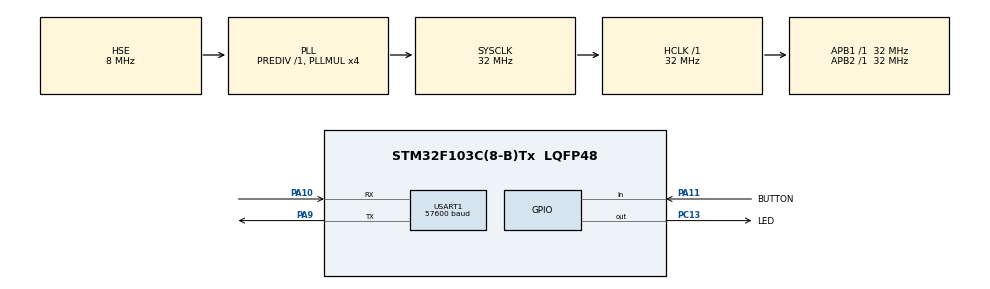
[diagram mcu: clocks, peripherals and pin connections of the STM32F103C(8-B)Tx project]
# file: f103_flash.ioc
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Dma.Request0=USART1_TX
Dma.USART1_TX.0.Direction=DMA_MEMORY_TO_PERIPH
Dma.USART1_TX.0.Instance=DMA1_Channel4
Dma.USART1_TX.0.MemDataAlignment=DMA_MDATAALIGN_BYTE
Dma.USART1_TX.0.MemInc=DMA_MINC_ENABLE
Dma.USART1_TX.0.Mode=DMA_NORMAL
Dma.USART1_TX.0.PeriphDataAlignment=DMA_PDATAALIGN_BYTE
Dma.USART1_TX.0.PeriphInc=DMA_PINC_DISABLE
Dma.USART1_TX.0.Priority=DMA_PRIORITY_LOW
Mcu.Family=STM32F1
Mcu.Name=STM32F103C(8-B)Tx
Mcu.Package=LQFP48
NVIC.DMA1_Channel4_IRQn=true\:0\:0\:false\:false\:true\:false\:true
NVIC.PriorityGroup=NVIC_PRIORITYGROUP_4
NVIC.USART1_IRQn=true\:0\:0\:false\:false\:true\:true\:true
PA10.Mode=Asynchronous
PA10.Signal=USART1_RX
PA11.GPIO_Label=BUTTON
PA11.Signal=GPIO_Input
PA13.Mode=Serial_Wire
PA13.Signal=SYS_JTMS-SWDIO
PA14.Mode=Serial_Wire
PA14.Signal=SYS_JTCK-SWCLK
PA9.Mode=Asynchronous
PA9.Signal=USART1_TX
PC13-TAMPER-RTC.GPIO_Label=LED
PC13-TAMPER-RTC.Signal=GPIO_Output
PD0-OSC_IN.Mode=HSE-External-Oscillator
PD0-OSC_IN.Signal=RCC_OSC_IN
PD1-OSC_OUT.Mode=HSE-External-Oscillator
PD1-OSC_OUT.Signal=RCC_OSC_OUT
ProjectManager.HeapSize=0x200
ProjectManager.StackSize=0x400
ProjectManager.TargetToolchain=STM32CubeIDE
RCC.AHBFreq_Value=32000000
RCC.APB1Freq_Value=32000000
RCC.APB1TimFreq_Value=32000000
RCC.APB2Freq_Value=32000000
RCC.APB2TimFreq_Value=32000000
RCC.HCLKFreq_Value=32000000
RCC.PLLMUL=RCC_PLL_MUL4
RCC.PLLSourceVirtual=RCC_PLLSOURCE_HSE
RCC.SYSCLKFreq_VALUE=32000000
RCC.SYSCLKSource=RCC_SYSCLKSOURCE_PLLCLK
RCC.USBFreq_Value=32000000
USART1.BaudRate=57600
USART1.VirtualMode=VM_ASYNC
board=custom

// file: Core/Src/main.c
/* USER CODE BEGIN Header */
/**
  ******************************************************************************
  * @file           : main.c
  * @brief          : Main program body
  ******************************************************************************
  * @attention
  *
  * <h2><center>&copy; Copyright (c) 2021 STMicroelectronics.
  * All rights reserved.</center></h2>
  *
  * This software component is licensed by ST under BSD 3-Clause license,
  * the "License"; You may not use this file except in compliance with the
  * License. You may obtain a copy of the License at:
  *                        opensource.org/licenses/BSD-3-Clause
  *
  ******************************************************************************
  */
/* USER CODE END Header */
#include "main.h"

/* USER CODE BEGIN Includes */
#include "stdio.h"
#include "string.h"
/* USER CODE END Includes */

/* USER CODE BEGIN PD */
#define msg_SIZE 30

/* USER CODE END PD */

UART_HandleTypeDef huart1;
DMA_HandleTypeDef hdma_usart1_tx;

/* USER CODE BEGIN PV */
static char UART_msg_TX [msg_SIZE]; // массив для формирования сообщений для вывода по UART
static char UART_buf_RX [msg_SIZE]; // массив для полученных сообщений по UART
const char message1 [] = "yes\r\n";
const char message2 [] = "error_command\r\n";
uint8_t count = 0; //номер элемента массива
char symbol = 0;
union data {             //объявим структуру
	uint16_t name;
	uint8_t day;
	uint8_t month;
	uint16_t year;
	} kordinata;
/* USER CODE END PV */

void SystemClock_Config(void);
static void MX_GPIO_Init(void);
static void MX_DMA_Init(void);
static void MX_USART1_UART_Init(void);

/* USER CODE BEGIN 0 */

/*-------------------------функция записывающая данные во флэш микроконтроллера--------------------------------*/
void write_flash ()
{
	HAL_FLASH_Unlock(); // разблокировать флеш
	uint32_t address = FLASH_START_ADDR; // адрес страницы для записи
	kordinata.name = 0xCAFE;
	if(HAL_FLASH_Program(FLASH_TYPEPROGRAM_HALFWORD, address, kordinata.name) != HAL_OK) //запись и обработчик ошибки
	{
	    uint32_t code_error = HAL_FLASH_GetError();
	    sprintf(UART_msg_TX, "error = %lu\r\n", code_error);
	    HAL_UART_Transmit_DMA (&huart1, (uint8_t*)UART_msg_TX, strlen(UART_msg_TX));
	    return;
	}
	address = address + 2; // смещаем адрес на 2 байта

	kordinata.day = 0x13;
	if(HAL_FLASH_Program(FLASH_TYPEPROGRAM_HALFWORD, address, kordinata.day) != HAL_OK) //обработчик ошибки
	{
	 	uint32_t code_error = HAL_FLASH_GetError();
	 	sprintf(UART_msg_TX, "error = %lu\r\n", code_error);
	 	HAL_UART_Transmit_DMA (&huart1, (uint8_t*)UART_msg_TX, strlen(UART_msg_TX));
	 	return;
	}
	address = address + 2; // смещаем адрес на 2 байта

	kordinata.month = 0x3;
	if(HAL_FLASH_Program(FLASH_TYPEPROGRAM_HALFWORD, address, kordinata.month) != HAL_OK) //обработчик ошибки
	{
		 uint32_t code_error = HAL_FLASH_GetError();
		 sprintf(UART_msg_TX, "error = %lu\r\n", code_error);
		 HAL_UART_Transmit_DMA (&huart1, (uint8_t*)UART_msg_TX, strlen(UART_msg_TX));
		 return;
	}
	address = address + 2; // смещаем адрес на 2 байта

	kordinata.year = 0x2020;
	if(HAL_FLASH_Program(FLASH_TYPEPROGRAM_HALFWORD, address, kordinata.year) != HAL_OK) //обработчик ошибки
	{
		 uint32_t code_error = HAL_FLASH_GetError();
		 sprintf(UART_msg_TX, "error = %lu\r\n", code_error);
		 HAL_UART_Transmit_DMA (&huart1, (uint8_t*)UART_msg_TX, strlen(UART_msg_TX));
		 return;
	}
	address = address + 2; // смещаем адрес на 2 байта

	HAL_UART_Transmit_DMA (&huart1, (uint8_t*)"Write in flash OK\r\n", strlen("Write in flash OK\r\n"));
	HAL_FLASH_Lock(); // заблокировать флеш
}

//--------------------------------------------колбэк прерывания от UART 1 при передаче половины сообщения------------------------------------//
/*DMA вызывает два прерывания, первое после отправки половины буфера, а второе при завершении. Чтобы отключить половинку,
нужно в файле stm32f1xx_hal_uart.c найти функцию HAL_UART_Transmit_DMA(...) и закомментировать строку huart->hdmatx->XferHalfCpltCallback = UART_DMATxHalfCplt*/
void HAL_UART_TxHalfCpltCallback(UART_HandleTypeDef *huart)
{
	if(huart == &huart1)
		{

		}
}

//--------------------------------------колбэк прерывания от UART 1 при передаче полного сообщения-------------------------------------------//
void HAL_UART_TxCpltCallback(UART_HandleTypeDef *huart)
{
	if(huart == &huart1)
		{

        }
}

//--------------------------------------колбэк прерывания от UART 1 при приёме полного сообщения-------------------------------------------//
void HAL_UART_RxCpltCallback(UART_HandleTypeDef *huart)
{
	if(huart == &huart1)
		{
		memset(UART_msg_TX, '\0', sizeof(UART_msg_TX)); //ф-я memset копирует младший байт символа ch в первые count символов массива buf. Возвращает указатель на массив.
		for (count = 0; count < 7; count++)
		{
			if (count == 5) //добавим в массив символ \r
				{
				symbol = UART_msg_TX [count] = '\r';
				HAL_UART_Transmit (&huart1, (unsigned char*)&symbol, 1, 0xFFF);
				continue;
				}
			if (count == 6) //добавим в массив символ \n
				{
				symbol = UART_msg_TX [count] = '\n';
				HAL_UART_Transmit (&huart1, (unsigned char*)&symbol, 1, 0xFFF);
				break;
				}
			symbol = UART_msg_TX [count] = UART_buf_RX [count]; //эхо
			HAL_UART_Transmit (&huart1, (unsigned char*)&symbol, 1, 0xFFF);
		}
		if(!strncmp(UART_buf_RX, "write", 5)) //ф-я strncmp сравнивает первые n символов строк. Возвращает "0", если строки одинаковы, "< 0" - если строка1 меньше сроки2, "> 0" - если строка1 больше строки 2
			{
//			HAL_UART_Transmit_DMA (&huart1, (unsigned char*)message1, strlen(message1));
			write_flash (); //запишем данные во флэш
			}
		else
			{
			HAL_UART_Transmit_DMA (&huart1, (unsigned char*)message2, strlen(message2));
			}
		HAL_UART_Receive_IT(&huart1, (uint8_t*)UART_buf_RX, 5);
        }
}
/* USER CODE END 0 */

int main(void)
{

  /* MCU Configuration--------------------------------------------------------*/

  /* Reset of all peripherals, Initializes the Flash interface and the Systick. */
  HAL_Init();

  /* Configure the system clock */
  SystemClock_Config();

  /* Initialize all configured peripherals */
  MX_GPIO_Init();
  MX_DMA_Init();
  MX_USART1_UART_Init();
  /* USER CODE BEGIN 2 */
  sprintf (UART_msg_TX,"flash_edit_start\r\n");
  HAL_UART_Transmit_DMA (&huart1, (unsigned char*)UART_msg_TX, strlen(UART_msg_TX));
  HAL_GPIO_WritePin (LED_GPIO_Port, LED_Pin, ENABLE);
  HAL_UART_Receive_IT(&huart1, (uint8_t*)UART_buf_RX, 5); //ожидаем получения 5 символов по УАРТ
  /* USER CODE END 2 */

  /* Infinite loop */
  while (1)
  {

    /* USER CODE BEGIN 3 */
	HAL_GPIO_TogglePin (LED_GPIO_Port, LED_Pin);
	HAL_Delay (1000);
  }
  /* USER CODE END 3 */
}

void SystemClock_Config(void)
{
  RCC_OscInitTypeDef RCC_OscInitStruct = {0};
  RCC_ClkInitTypeDef RCC_ClkInitStruct = {0};

  /** Initializes the RCC Oscillators according to the specified parameters
  * in the RCC_OscInitTypeDef structure.
  */
  RCC_OscInitStruct.OscillatorType = RCC_OSCILLATORTYPE_HSE;
  RCC_OscInitStruct.HSEState = RCC_HSE_ON;
  RCC_OscInitStruct.HSEPredivValue = RCC_HSE_PREDIV_DIV1;
  RCC_OscInitStruct.HSIState = RCC_HSI_ON;
  RCC_OscInitStruct.PLL.PLLState = RCC_PLL_ON;
  RCC_OscInitStruct.PLL.PLLSource = RCC_PLLSOURCE_HSE;
  RCC_OscInitStruct.PLL.PLLMUL = RCC_PLL_MUL4;
  if (HAL_RCC_OscConfig(&RCC_OscInitStruct) != HAL_OK)
  {
    Error_Handler();
  }
  /** Initializes the CPU, AHB and APB buses clocks
  */
  RCC_ClkInitStruct.ClockType = RCC_CLOCKTYPE_HCLK|RCC_CLOCKTYPE_SYSCLK
                              |RCC_CLOCKTYPE_PCLK1|RCC_CLOCKTYPE_PCLK2;
  RCC_ClkInitStruct.SYSCLKSource = RCC_SYSCLKSOURCE_PLLCLK;
  RCC_ClkInitStruct.AHBCLKDivider = RCC_SYSCLK_DIV1;
  RCC_ClkInitStruct.APB1CLKDivider = RCC_HCLK_DIV1;
  RCC_ClkInitStruct.APB2CLKDivider = RCC_HCLK_DIV1;

  if (HAL_RCC_ClockConfig(&RCC_ClkInitStruct, FLASH_LATENCY_1) != HAL_OK)
  {
    Error_Handler();
  }
}

static void MX_USART1_UART_Init(void)
{

  huart1.Instance = USART1;
  huart1.Init.BaudRate = 57600;
  huart1.Init.WordLength = UART_WORDLENGTH_8B;
  huart1.Init.StopBits = UART_STOPBITS_1;
  huart1.Init.Parity = UART_PARITY_NONE;
  huart1.Init.Mode = UART_MODE_TX_RX;
  huart1.Init.HwFlowCtl = UART_HWCONTROL_NONE;
  huart1.Init.OverSampling = UART_OVERSAMPLING_16;
  if (HAL_UART_Init(&huart1) != HAL_OK)
  {
    Error_Handler();
  }

}

static void MX_DMA_Init(void)
{

  /* DMA controller clock enable */
  __HAL_RCC_DMA1_CLK_ENABLE();

  /* DMA interrupt init */
  /* DMA1_Channel4_IRQn interrupt configuration */
  HAL_NVIC_SetPriority(DMA1_Channel4_IRQn, 0, 0);
  HAL_NVIC_EnableIRQ(DMA1_Channel4_IRQn);

}

static void MX_GPIO_Init(void)
{
  GPIO_InitTypeDef GPIO_InitStruct = {0};

  /* GPIO Ports Clock Enable */
  __HAL_RCC_GPIOC_CLK_ENABLE();
  __HAL_RCC_GPIOD_CLK_ENABLE();
  __HAL_RCC_GPIOA_CLK_ENABLE();

  /*Configure GPIO pin Output Level */
  HAL_GPIO_WritePin(LED_GPIO_Port, LED_Pin, GPIO_PIN_RESET);

  /*Configure GPIO pin : LED_Pin */
  GPIO_InitStruct.Pin = LED_Pin;
  GPIO_InitStruct.Mode = GPIO_MODE_OUTPUT_PP;
  GPIO_InitStruct.Pull = GPIO_NOPULL;
  GPIO_InitStruct.Speed = GPIO_SPEED_FREQ_LOW;
  HAL_GPIO_Init(LED_GPIO_Port, &GPIO_InitStruct);

  /*Configure GPIO pin : BUTTON_Pin */
  GPIO_InitStruct.Pin = BUTTON_Pin;
  GPIO_InitStruct.Mode = GPIO_MODE_INPUT;
  GPIO_InitStruct.Pull = GPIO_NOPULL;
  HAL_GPIO_Init(BUTTON_GPIO_Port, &GPIO_InitStruct);

}

void Error_Handler(void)
{
  __disable_irq();
  while (1)
  {
  }
}

/************************ (C) COPYRIGHT STMicroelectronics *****END OF FILE****/
